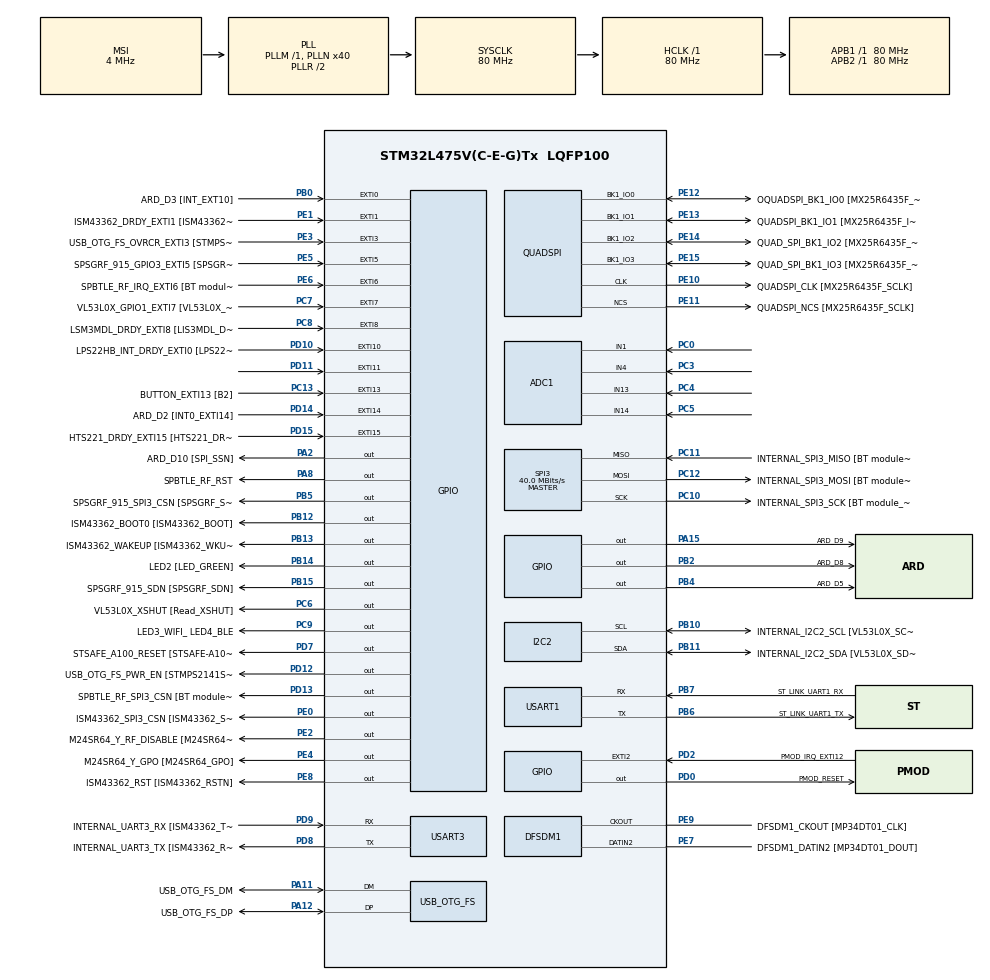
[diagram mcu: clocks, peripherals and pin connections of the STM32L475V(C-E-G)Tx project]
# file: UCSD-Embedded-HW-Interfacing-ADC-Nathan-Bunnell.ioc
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PD12.GPIO_Label=USB_OTG_FS_PWR_EN [STMPS2141STR_EN]
SPI3.Direction=SPI_DIRECTION_2LINES
SPI3.VirtualType=VM_MASTER
QUADSPI.ClockPrescaler=2
PB10.Mode=I2C
PC12.Signal=SPI3_MOSI
PB14.GPIO_Label=LED2 [LED_GREEN]
PC6.GPIO_Label=VL53L0X_XSHUT [Read_XSHUT]
PA6.GPIO_Label=ARD_D12 [SPI1_MISO]
PB6.GPIO_Label=ST_LINK_UART1_TX
PA15\ (JTDI).Signal=GPIO_Output
PC15-OSC32_OUT\ (PC15).Mode=LSE-External-Oscillator
PB13.Signal=GPIO_Output
PD6.GPIO_Label=PMOD_UART2_RX
PE6.GPIO_Label=SPBTLE_RF_IRQ_EXTI6 [BT module_SPI_IRQ]
RCC.SYSCLKSource=RCC_SYSCLKSOURCE_PLLCLK
PC14-OSC32_IN\ (PC14).Mode=LSE-External-Oscillator
SH.ADCx_IN16.0=ADC1_IN16
USART3.VirtualMode-Asynchronous=VM_ASYNC
PA14\ (JTCK-SWCLK).Signal=SYS_JTCK-SWCLK
PD4.Signal=USART2_RTS
RCC.APB2TimFreq_Value=80000000
PC4.GPIO_Mode=GPIO_MODE_ANALOG_ADC_CONTROL
PB6.Signal=USART1_TX
Dma.ADC1.0.Direction=DMA_PERIPH_TO_MEMORY
PC7.Signal=GPXTI7
PB6.Mode=Asynchronous
PC3.Signal=ADCx_IN4
PD0.Signal=GPIO_Output
PD8.Signal=USART3_TX
PE5.Signal=GPXTI5
PE1.Signal=GPXTI1
QUADSPI.FlashSize=23
Dma.ADC1.0.MemDataAlignment=DMA_MDATAALIGN_HALFWORD
PB2.Signal=GPIO_Output
PC1.GPIO_PuPd=GPIO_NOPULL
PD1.GPIO_Label=PMOD_SPI2_SCK
PB12.GPIO_Label=ISM43362_BOOT0 [ISM43362_BOOT]
PE9.Signal=S_CKOUTDFSDM1
PB1.GPIO_Label=ARD_D6 [ADC1_IN6]
Dma.ADC1.0.PeriphInc=DMA_PINC_DISABLE
PE4.GPIO_Label=M24SR64_Y_GPO [M24SR64_GPO]
PE2.Signal=GPIO_Output
PA8.Signal=GPIO_Output
PE13.Mode=Single Bank
PE10.Signal=QUADSPI_CLK
ADC1.SamplingTime-0\#ChannelRegularConversion=ADC_SAMPLETIME_2CYCLES_5
PD11.GPIO_ModeDefaultEXTI=GPIO_MODE_IT_RISING
PA0.Signal=UART4_TX
Mcu.Package=LQFP100
PB9.Signal=I2C1_SDA
PB1.Signal=ADCx_IN16
SPI3.Mode=SPI_MODE_MASTER
SH.ADCx_IN14.0=ADC1_IN14,IN14-Single-Ended
PD12.Signal=GPIO_Output
PA10.Signal=USB_OTG_FS_ID
PE12.GPIO_Label=OQUADSPI_BK1_IO0 [MX25R6435F_IO0]
PC11.Mode=Full_Duplex_Master
SH.ADCx_IN9.0=ADC1_IN9
PC2.GPIO_Mode=GPIO_MODE_ANALOG_ADC_CONTROL
RCC.APB1TimFreq_Value=80000000
PA13\ (JTMS-SWDIO).Signal=SYS_JTMS-SWDIO
PE10.GPIO_Label=QUADSPI_CLK [MX25R6435F_SCLK]
PA4.GPIO_Label=ARD_D7
PD15.Signal=GPXTI15
PE12.Mode=Single Bank
Dma.ADC1.0.Instance=DMA1_Channel1
ADC1.Rank-0\#ChannelRegularConversion=1
PD9.GPIO_Label=INTERNAL_UART3_RX [ISM43362_TX]
ADC1.OffsetNumber-0\#ChannelRegularConversion=ADC_OFFSET_NONE
PA9.GPIO_Label=USB_OTG_FS_VBUS [STMPS2141STR_OUT]
PC13.Signal=GPXTI13
PD3.Signal=USART2_CTS
PC6.Signal=GPIO_Output
PE10.Mode=Single Bank
PC2.Signal=ADCx_IN3
PB11.GPIO_Label=INTERNAL_I2C2_SDA [VL53L0X_SDA]
PD7.Signal=GPIO_Output
PD1.Signal=SPI2_SCK
PA11.GPIO_Label=USB_OTG_FS_DM
PC0.Signal=ADCx_IN1
PD10.Signal=GPXTI10
PB8.GPIO_Label=ARD_D15 [I2C1_SCL]
PA8.GPIO_Label=SPBTLE_RF_RST
PB11.Mode=I2C
PE8.GPIO_Label=ISM43362_RST [ISM43362_RSTN]
Dma.ADC1.0.Priority=DMA_PRIORITY_LOW
PA9.Signal=USB_OTG_FS_VBUS
PE9.GPIO_Label=DFSDM1_CKOUT [MP34DT01_CLK]
PD8.Mode=Asynchronous
PB10.Signal=I2C2_SCL
PB14.Signal=GPIO_Output
PA5.Signal=SPI1_SCK
PC12.Mode=Full_Duplex_Master
PE1.GPIO_Label=ISM43362_DRDY_EXTI1 [ISM43362_DATARDY]
PE14.Signal=QUADSPI_BK1_IO2
PE15.Signal=QUADSPI_BK1_IO3
PB15.GPIO_Label=SPSGRF_915_SDN [SPSGRF_SDN]
PE8.Signal=GPIO_Output
PA1.GPIO_Label=ARD_D0 [UART4_RX]
SH.ADCx_IN4.0=ADC1_IN4,IN4-Single-Ended
QUADSPI.FifoThreshold=4
PC7.GPIO_Label=VL53L0X_GPIO1_EXTI7 [VL53L0X_GPIO1]
PA13\ (JTMS-SWDIO).Mode=Serial_Wire
PA4.Signal=ADCx_IN9
PB5.Signal=GPIO_Output
ADC1.master=1
PE13.GPIO_Label=QUADSPI_BK1_IO1 [MX25R6435F_IO1]
PA5.GPIO_Label=ARD_D13 [SPI1_SCK]
PD11.Signal=GPXTI11
PE5.GPIO_Label=SPSGRF_915_GPIO3_EXTI5 [SPSGRF_GPIO_3]
PC12.GPIO_Label=INTERNAL_SPI3_MOSI [BT module_SPI_MOSI] [ISM43362_MOSI]
PA11.Signal=USB_OTG_FS_DM
PC5.GPIO_Mode=GPIO_MODE_ANALOG_ADC_CONTROL
ProjectManager.HeapSize=0x200
NVIC.PriorityGroup=NVIC_PRIORITYGROUP_4
PE3.Signal=GPXTI3
PB4\ (NJTRST).GPIO_Label=ARD_D5
NVIC.DMA1_Channel1_IRQn=true\:0\:0\:false\:false\:true\:true\:true
PD2.Signal=GPXTI2
PB0.Signal=GPXTI0
PC1.Signal=ADCx_IN2
PD2.GPIO_Label=PMOD_IRQ_EXTI12
PE15.Mode=Single Bank
Mcu.Family=STM32L4
PC3.GPIO_Mode=GPIO_MODE_ANALOG_ADC_CONTROL
RCC.CortexFreq_Value=80000000
PE11.GPIO_Label=QUADSPI_NCS [MX25R6435F_SCLK]
SH.ADCx_IN2.0=ADC1_IN2
PC10.Signal=SPI3_SCK
I2C2.Timing=0x10909CEC
PA0.GPIO_Label=ARD_D1 [UART4_TX]
PD0.GPIO_Label=PMOD_RESET
PA11.Mode=Device_Only
PB0.GPIO_Label=ARD_D3 [INT_EXT10]
PC13.GPIO_Label=BUTTON_EXTI13 [B2]
PB13.GPIO_Label=ISM43362_WAKEUP [ISM43362_WKUP]
PB11.Signal=I2C2_SDA
PB15.Signal=GPIO_Output
PD9.Mode=Asynchronous
ProjectManager.StackSize=0x400
PB3\ (JTDO-TRACESWO).Signal=SYS_JTDO-SWO
PD13.Signal=GPIO_Output
PD11.GPIO_PuPd=GPIO_NOPULL
PA12.Signal=USB_OTG_FS_DP
PE11.Mode=Single Bank
RCC.HCLKFreq_Value=80000000
SH.ADCx_IN3.0=ADC1_IN3
PB5.PinState=GPIO_PIN_SET
RCC.AHBFreq_Value=80000000
PC1.GPIO_Mode=GPIO_MODE_ANALOG_ADC_CONTROL
ADC1.Channel-0\#ChannelRegularConversion=ADC_CHANNEL_14
RCC.HSE_VALUE=8000000
PE13.Signal=QUADSPI_BK1_IO1
PC11.GPIO_Label=INTERNAL_SPI3_MISO [BT module_SPI_MISO] [ISM43362_MISO]
PA10.GPIO_Label=USB_OTG_FS_ID
PB7.Signal=USART1_RX
PE4.Signal=GPIO_Output
QUADSPI.SampleShifting=QSPI_SAMPLE_SHIFTING_HALFCYCLE
PD7.GPIO_Label=STSAFE_A100_RESET [STSAFE-A100_RESET]
PB7.GPIO_Label=ST_LINK_UART1_RX
PD13.GPIO_Label=SPBTLE_RF_SPI3_CSN [BT module_SPI_CS]
PA6.Signal=SPI1_MISO
PD5.GPIO_Label=PMOD_UART2_TX
PA2.GPIO_Label=ARD_D10 [SPI_SSN]
USB_OTG_FS.VirtualMode=Device_Only
PE0.GPIO_Label=ISM43362_SPI3_CSN [ISM43362_SSN]
SH.ADCx_IN1.0=ADC1_IN1,IN1-Single-Ended
PB5.GPIO_Label=SPSGRF_915_SPI3_CSN [SPSGRF_SPI_CS]
PC5.Signal=ADCx_IN14
PD3.GPIO_Label=PMOD_UART2_CTS
PE7.Signal=S_DATAIN2DFSDM1
PC0.GPIO_PuPd=GPIO_NOPULL
PD6.Signal=USART2_RX
Dma.Request0=ADC1
PE2.GPIO_Label=M24SR64_Y_RF_DISABLE [M24SR64_RFDIS]
RCC.PLLSAI1N=24
PA3.Signal=S_TIM2_CH4
RCC.MSI_VALUE=4000000
PA14\ (JTCK-SWCLK).Mode=Serial_Wire
SH.ADCx_IN13.0=ADC1_IN13,IN13-Single-Ended
PD15.GPIO_Label=HTS221_DRDY_EXTI15 [HTS221_DRDY]
PB9.GPIO_Label=ARD_D14 [I2C1_SDA]
PC10.GPIO_Label=INTERNAL_SPI3_SCK [BT module_SPI_SCLK] [ISM43362_SCK]
PC9.GPIO_Label=LED3_WIFI_ LED4_BLE
PC4.GPIO_PuPd=GPIO_NOPULL
PC11.Signal=SPI3_MISO
PC8.Signal=GPXTI8
PC4.Signal=ADCx_IN13
PC10.Mode=Full_Duplex_Master
SH.S_DATAIN2DFSDM1.0=DFSDM1_DATIN2,PDM_SPI_Input_from_ch12_and_Internal_Clock
PE14.GPIO_Label=QUAD_SPI_BK1_IO2 [MX25R6435F_IO2]
PC15-OSC32_OUT\ (PC15).Signal=RCC_OSC32_OUT
PD9.Signal=USART3_RX
PD5.Signal=USART2_TX
PA14\ (JTCK-SWCLK).GPIO_Label=SYS_JTCK_SWCLK
PB3\ (JTDO-TRACESWO).GPIO_Label=SYS_JTD0_SWO
PC5.GPIO_PuPd=GPIO_NOPULL
PA12.GPIO_Label=USB_OTG_FS_DP
PD8.GPIO_Label=INTERNAL_UART3_TX [ISM43362_RX]
PC8.GPIO_Label=LSM3MDL_DRDY_EXTI8 [LIS3MDL_DRDY]
USART1.VirtualMode-Asynchronous=VM_ASYNC
Dma.ADC1.0.PeriphDataAlignment=DMA_PDATAALIGN_HALFWORD
PE0.PinState=GPIO_PIN_SET
PE15.GPIO_Label=QUAD_SPI_BK1_IO3 [MX25R6435F_IO3]
ProjectManager.TargetToolchain=STM32CubeIDE
PB10.GPIO_Label=INTERNAL_I2C2_SCL [VL53L0X_SCL]
Dma.ADC1.0.Mode=DMA_NORMAL
RCC.USBFreq_Value=48000000
PD10.GPIO_Label=LPS22HB_INT_DRDY_EXTI0 [LPS22HB_INT_DRDY] 
PE11.Signal=QUADSPI_NCS
PA1.Signal=UART4_RX
board=B-L475E-IOT01A1
RCC.VCOOutputFreq_Value=160000000
RCC.APB2Freq_Value=80000000
SPI3.CalculateBaudRate=40.0 MBits/s
PC0.GPIO_Mode=GPIO_MODE_ANALOG_ADC_CONTROL
PA13\ (JTMS-SWDIO).GPIO_Label=SYS_JTMS_SWDIO
PD4.GPIO_Label=PMOD_UART2_RTS
PE14.Mode=Single Bank
SH.S_CKOUTDFSDM1.0=DFSDM1_CKOUT,CKOUT
SH.S_CKOUTDFSDM1.1=DFSDM1_CKOUT,PDM_SPI_Input_from_ch12_and_Internal_Clock
RCC.ADCFreq_Value=48000000
PD14.GPIO_Label=ARD_D2 [INT0_EXTI14]
PC2.GPIO_PuPd=GPIO_NOPULL
PE6.Signal=GPXTI6
PA15\ (JTDI).GPIO_Label=ARD_D9
Mcu.Name=STM32L475V(C-E-G)Tx
PE0.Signal=GPIO_Output
PE7.GPIO_Label=DFSDM1_DATIN2 [MP34DT01_DOUT]
PE12.Signal=QUADSPI_BK1_IO0
PA2.Signal=GPIO_Output
PD14.Signal=GPXTI14
RCC.SYSCLKFreq_VALUE=80000000
PA7.GPIO_Label=ARD_D11 [SPI1_MOSI]
PA12.Mode=Device_Only
PC13.GPIO_ModeDefaultEXTI=GPIO_MODE_IT_FALLING
PC14-OSC32_IN\ (PC14).Signal=RCC_OSC32_IN
PB7.Mode=Asynchronous
Dma.ADC1.0.MemInc=DMA_MINC_ENABLE
PB2.GPIO_Label=ARD_D8
SH.S_TIM2_CH4.0=TIM2_CH4
RCC.HSI_VALUE=16000000
ADC1.NbrOfConversionFlag=1
RCC.PLLN=40
PB8.Signal=I2C1_SCL
PE3.GPIO_Label=USB_OTG_FS_OVRCR_EXTI3 [STMPS2141STR_FAULT]
PC9.Signal=GPIO_Output
PD13.PinState=GPIO_PIN_SET
RCC.APB1Freq_Value=80000000
PB12.Signal=GPIO_Output
PC3.GPIO_PuPd=GPIO_NOPULL
PA3.GPIO_Label=ARD_D4
PA7.Signal=SPI1_MOSI
PB4\ (NJTRST).Signal=GPIO_Output

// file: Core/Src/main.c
/* USER CODE BEGIN Header */
/**
  ******************************************************************************
  * @file           : main.c
  * @brief          : Main program body
  ******************************************************************************
  * @attention
  *
  * <h2><center>&copy; Copyright (c) 2021 STMicroelectronics.
  * All rights reserved.</center></h2>
  *
  * This software component is licensed by ST under BSD 3-Clause license,
  * the "License"; You may not use this file except in compliance with the
  * License. You may obtain a copy of the License at:
  *                        opensource.org/licenses/BSD-3-Clause
  *
  ******************************************************************************
  */
/* USER CODE END Header */
#include "main.h"

/* USER CODE BEGIN Includes */

#include <stdio.h>
#include <string.h>

/* USER CODE END Includes */

ADC_HandleTypeDef hadc1;
DMA_HandleTypeDef hdma_adc1;

DFSDM_Channel_HandleTypeDef hdfsdm1_channel1;

I2C_HandleTypeDef hi2c2;

QSPI_HandleTypeDef hqspi;

SPI_HandleTypeDef hspi3;

UART_HandleTypeDef huart1;
UART_HandleTypeDef huart3;

PCD_HandleTypeDef hpcd_USB_OTG_FS;

void SystemClock_Config(void);
static void MX_GPIO_Init(void);
static void MX_DMA_Init(void);
static void MX_DFSDM1_Init(void);
static void MX_I2C2_Init(void);
static void MX_QUADSPI_Init(void);
static void MX_SPI3_Init(void);
static void MX_USART1_UART_Init(void);
static void MX_USART3_UART_Init(void);
static void MX_USB_OTG_FS_PCD_Init(void);
static void MX_ADC1_Init(void);

/* USER CODE BEGIN 0 */

static uint16_t adcValue;

void HAL_ADC_ConvCpltCallback(ADC_HandleTypeDef *hadc)
{
	// Define formatting strings to provide a clean serial output
	char printString[255] = "\nARD-A2: raw: ";
	char voltsString[] = ", volts: ";

	// Store value into a buffer
	char bufferRaw[20];
	snprintf(bufferRaw, sizeof(bufferRaw), "%u", adcValue);

	// Convert raw counts into voltage
	char bufferVoltage[20];
	float valueVoltage= (adcValue * (3.3/4096));
	snprintf(bufferVoltage, sizeof(bufferVoltage), "%5.3f", valueVoltage);

	// Concat the formatting strings and data to an output
	// to send out over the UART1 serial port/ USB-micro
	// port to PC
	strcat(printString, bufferRaw);
	strcat(printString, voltsString);
	strcat(printString, bufferVoltage);

	HAL_UART_Transmit(&huart1, (uint8_t *) printString, strlen(printString), 1000);
}

/* USER CODE END 0 */

int main(void)
{

  /* MCU Configuration--------------------------------------------------------*/

  /* Reset of all peripherals, Initializes the Flash interface and the Systick. */
  HAL_Init();

  /* Configure the system clock */
  SystemClock_Config();

  /* Initialize all configured peripherals */
  MX_GPIO_Init();
  MX_DMA_Init();
  MX_DFSDM1_Init();
  MX_I2C2_Init();
  MX_QUADSPI_Init();
  MX_SPI3_Init();
  MX_USART1_UART_Init();
  MX_USART3_UART_Init();
  MX_USB_OTG_FS_PCD_Init();
  MX_ADC1_Init();

  /* Infinite loop */
  /* USER CODE BEGIN WHILE */

  /************************************
  * User Story 3 implementation begin:
  *
  * 	Connect ARD-2 to analog voltage
  * 	source and read using ADC DMA
  * 	mode. Pipe output to console.
  *
  ***********************************/

  // Startup string to show that we're working
  char startupString[255] = "Starting ADC DMA mode...\n";
  HAL_UART_Transmit(&huart1, (uint8_t *) startupString, strlen(startupString), 1000);

  // Calibrate ADC1
  HAL_ADCEx_Calibration_Start(&hadc1, ADC_SINGLE_ENDED);

  while (1)
  {
    /* USER CODE END WHILE */

    /* USER CODE BEGIN 3 */

	  // Blink & delay to give indication of *something* happening
	  HAL_GPIO_TogglePin(LED3_WIFI__LED4_BLE_GPIO_Port, LED3_WIFI__LED4_BLE_Pin);
	  HAL_Delay(1000);

	  // Enable ADC1 in IT mode
	  HAL_ADC_Start_DMA(&hadc1, &adcValue, 1);

	  /************************************
	  * User Story 3 implementation end
	  *
	  ***********************************/

  }
  /* USER CODE END 3 */
}

void SystemClock_Config(void)
{
  RCC_OscInitTypeDef RCC_OscInitStruct = {0};
  RCC_ClkInitTypeDef RCC_ClkInitStruct = {0};
  RCC_PeriphCLKInitTypeDef PeriphClkInit = {0};

  /** Configure LSE Drive Capability
  */
  HAL_PWR_EnableBkUpAccess();
  __HAL_RCC_LSEDRIVE_CONFIG(RCC_LSEDRIVE_LOW);
  /** Initializes the RCC Oscillators according to the specified parameters
  * in the RCC_OscInitTypeDef structure.
  */
  RCC_OscInitStruct.OscillatorType = RCC_OSCILLATORTYPE_LSE|RCC_OSCILLATORTYPE_MSI;
  RCC_OscInitStruct.LSEState = RCC_LSE_ON;
  RCC_OscInitStruct.MSIState = RCC_MSI_ON;
  RCC_OscInitStruct.MSICalibrationValue = 0;
  RCC_OscInitStruct.MSIClockRange = RCC_MSIRANGE_6;
  RCC_OscInitStruct.PLL.PLLState = RCC_PLL_ON;
  RCC_OscInitStruct.PLL.PLLSource = RCC_PLLSOURCE_MSI;
  RCC_OscInitStruct.PLL.PLLM = 1;
  RCC_OscInitStruct.PLL.PLLN = 40;
  RCC_OscInitStruct.PLL.PLLP = RCC_PLLP_DIV7;
  RCC_OscInitStruct.PLL.PLLQ = RCC_PLLQ_DIV2;
  RCC_OscInitStruct.PLL.PLLR = RCC_PLLR_DIV2;
  if (HAL_RCC_OscConfig(&RCC_OscInitStruct) != HAL_OK)
  {
    Error_Handler();
  }
  /** Initializes the CPU, AHB and APB buses clocks
  */
  RCC_ClkInitStruct.ClockType = RCC_CLOCKTYPE_HCLK|RCC_CLOCKTYPE_SYSCLK
                              |RCC_CLOCKTYPE_PCLK1|RCC_CLOCKTYPE_PCLK2;
  RCC_ClkInitStruct.SYSCLKSource = RCC_SYSCLKSOURCE_PLLCLK;
  RCC_ClkInitStruct.AHBCLKDivider = RCC_SYSCLK_DIV1;
  RCC_ClkInitStruct.APB1CLKDivider = RCC_HCLK_DIV1;
  RCC_ClkInitStruct.APB2CLKDivider = RCC_HCLK_DIV1;

  if (HAL_RCC_ClockConfig(&RCC_ClkInitStruct, FLASH_LATENCY_4) != HAL_OK)
  {
    Error_Handler();
  }
  PeriphClkInit.PeriphClockSelection = RCC_PERIPHCLK_USART1|RCC_PERIPHCLK_USART3
                              |RCC_PERIPHCLK_I2C2|RCC_PERIPHCLK_DFSDM1
                              |RCC_PERIPHCLK_USB|RCC_PERIPHCLK_ADC;
  PeriphClkInit.Usart1ClockSelection = RCC_USART1CLKSOURCE_PCLK2;
  PeriphClkInit.Usart3ClockSelection = RCC_USART3CLKSOURCE_PCLK1;
  PeriphClkInit.I2c2ClockSelection = RCC_I2C2CLKSOURCE_PCLK1;
  PeriphClkInit.AdcClockSelection = RCC_ADCCLKSOURCE_PLLSAI1;
  PeriphClkInit.Dfsdm1ClockSelection = RCC_DFSDM1CLKSOURCE_PCLK;
  PeriphClkInit.UsbClockSelection = RCC_USBCLKSOURCE_PLLSAI1;
  PeriphClkInit.PLLSAI1.PLLSAI1Source = RCC_PLLSOURCE_MSI;
  PeriphClkInit.PLLSAI1.PLLSAI1M = 1;
  PeriphClkInit.PLLSAI1.PLLSAI1N = 24;
  PeriphClkInit.PLLSAI1.PLLSAI1P = RCC_PLLP_DIV7;
  PeriphClkInit.PLLSAI1.PLLSAI1Q = RCC_PLLQ_DIV2;
  PeriphClkInit.PLLSAI1.PLLSAI1R = RCC_PLLR_DIV2;
  PeriphClkInit.PLLSAI1.PLLSAI1ClockOut = RCC_PLLSAI1_48M2CLK|RCC_PLLSAI1_ADC1CLK;
  if (HAL_RCCEx_PeriphCLKConfig(&PeriphClkInit) != HAL_OK)
  {
    Error_Handler();
  }
  /** Configure the main internal regulator output voltage
  */
  if (HAL_PWREx_ControlVoltageScaling(PWR_REGULATOR_VOLTAGE_SCALE1) != HAL_OK)
  {
    Error_Handler();
  }
  /** Enable MSI Auto calibration
  */
  HAL_RCCEx_EnableMSIPLLMode();
}

static void MX_ADC1_Init(void)
{

  ADC_MultiModeTypeDef multimode = {0};
  ADC_ChannelConfTypeDef sConfig = {0};

  /** Common config
  */
  hadc1.Instance = ADC1;
  hadc1.Init.ClockPrescaler = ADC_CLOCK_ASYNC_DIV1;
  hadc1.Init.Resolution = ADC_RESOLUTION_12B;
  hadc1.Init.DataAlign = ADC_DATAALIGN_RIGHT;
  hadc1.Init.ScanConvMode = ADC_SCAN_DISABLE;
  hadc1.Init.EOCSelection = ADC_EOC_SINGLE_CONV;
  hadc1.Init.LowPowerAutoWait = DISABLE;
  hadc1.Init.ContinuousConvMode = DISABLE;
  hadc1.Init.NbrOfConversion = 1;
  hadc1.Init.DiscontinuousConvMode = DISABLE;
  hadc1.Init.ExternalTrigConv = ADC_SOFTWARE_START;
  hadc1.Init.ExternalTrigConvEdge = ADC_EXTERNALTRIGCONVEDGE_NONE;
  hadc1.Init.DMAContinuousRequests = DISABLE;
  hadc1.Init.Overrun = ADC_OVR_DATA_PRESERVED;
  hadc1.Init.OversamplingMode = DISABLE;
  if (HAL_ADC_Init(&hadc1) != HAL_OK)
  {
    Error_Handler();
  }
  /** Configure the ADC multi-mode
  */
  multimode.Mode = ADC_MODE_INDEPENDENT;
  if (HAL_ADCEx_MultiModeConfigChannel(&hadc1, &multimode) != HAL_OK)
  {
    Error_Handler();
  }
  /** Configure Regular Channel
  */
  sConfig.Channel = ADC_CHANNEL_4;
  sConfig.Rank = ADC_REGULAR_RANK_1;
  sConfig.SamplingTime = ADC_SAMPLETIME_2CYCLES_5;
  sConfig.SingleDiff = ADC_SINGLE_ENDED;
  sConfig.OffsetNumber = ADC_OFFSET_NONE;
  sConfig.Offset = 0;
  if (HAL_ADC_ConfigChannel(&hadc1, &sConfig) != HAL_OK)
  {
    Error_Handler();
  }

}

static void MX_DFSDM1_Init(void)
{

  hdfsdm1_channel1.Instance = DFSDM1_Channel1;
  hdfsdm1_channel1.Init.OutputClock.Activation = ENABLE;
  hdfsdm1_channel1.Init.OutputClock.Selection = DFSDM_CHANNEL_OUTPUT_CLOCK_SYSTEM;
  hdfsdm1_channel1.Init.OutputClock.Divider = 2;
  hdfsdm1_channel1.Init.Input.Multiplexer = DFSDM_CHANNEL_EXTERNAL_INPUTS;
  hdfsdm1_channel1.Init.Input.DataPacking = DFSDM_CHANNEL_STANDARD_MODE;
  hdfsdm1_channel1.Init.Input.Pins = DFSDM_CHANNEL_FOLLOWING_CHANNEL_PINS;
  hdfsdm1_channel1.Init.SerialInterface.Type = DFSDM_CHANNEL_SPI_RISING;
  hdfsdm1_channel1.Init.SerialInterface.SpiClock = DFSDM_CHANNEL_SPI_CLOCK_INTERNAL;
  hdfsdm1_channel1.Init.Awd.FilterOrder = DFSDM_CHANNEL_FASTSINC_ORDER;
  hdfsdm1_channel1.Init.Awd.Oversampling = 1;
  hdfsdm1_channel1.Init.Offset = 0;
  hdfsdm1_channel1.Init.RightBitShift = 0x00;
  if (HAL_DFSDM_ChannelInit(&hdfsdm1_channel1) != HAL_OK)
  {
    Error_Handler();
  }

}

static void MX_I2C2_Init(void)
{

  hi2c2.Instance = I2C2;
  hi2c2.Init.Timing = 0x10909CEC;
  hi2c2.Init.OwnAddress1 = 0;
  hi2c2.Init.AddressingMode = I2C_ADDRESSINGMODE_7BIT;
  hi2c2.Init.DualAddressMode = I2C_DUALADDRESS_DISABLE;
  hi2c2.Init.OwnAddress2 = 0;
  hi2c2.Init.OwnAddress2Masks = I2C_OA2_NOMASK;
  hi2c2.Init.GeneralCallMode = I2C_GENERALCALL_DISABLE;
  hi2c2.Init.NoStretchMode = I2C_NOSTRETCH_DISABLE;
  if (HAL_I2C_Init(&hi2c2) != HAL_OK)
  {
    Error_Handler();
  }
  /** Configure Analogue filter
  */
  if (HAL_I2CEx_ConfigAnalogFilter(&hi2c2, I2C_ANALOGFILTER_ENABLE) != HAL_OK)
  {
    Error_Handler();
  }
  /** Configure Digital filter
  */
  if (HAL_I2CEx_ConfigDigitalFilter(&hi2c2, 0) != HAL_OK)
  {
    Error_Handler();
  }

}

static void MX_QUADSPI_Init(void)
{

  /* QUADSPI parameter configuration*/
  hqspi.Instance = QUADSPI;
  hqspi.Init.ClockPrescaler = 2;
  hqspi.Init.FifoThreshold = 4;
  hqspi.Init.SampleShifting = QSPI_SAMPLE_SHIFTING_HALFCYCLE;
  hqspi.Init.FlashSize = 23;
  hqspi.Init.ChipSelectHighTime = QSPI_CS_HIGH_TIME_1_CYCLE;
  hqspi.Init.ClockMode = QSPI_CLOCK_MODE_0;
  if (HAL_QSPI_Init(&hqspi) != HAL_OK)
  {
    Error_Handler();
  }

}

static void MX_SPI3_Init(void)
{

  /* SPI3 parameter configuration*/
  hspi3.Instance = SPI3;
  hspi3.Init.Mode = SPI_MODE_MASTER;
  hspi3.Init.Direction = SPI_DIRECTION_2LINES;
  hspi3.Init.DataSize = SPI_DATASIZE_4BIT;
  hspi3.Init.CLKPolarity = SPI_POLARITY_LOW;
  hspi3.Init.CLKPhase = SPI_PHASE_1EDGE;
  hspi3.Init.NSS = SPI_NSS_SOFT;
  hspi3.Init.BaudRatePrescaler = SPI_BAUDRATEPRESCALER_2;
  hspi3.Init.FirstBit = SPI_FIRSTBIT_MSB;
  hspi3.Init.TIMode = SPI_TIMODE_DISABLE;
  hspi3.Init.CRCCalculation = SPI_CRCCALCULATION_DISABLE;
  hspi3.Init.CRCPolynomial = 7;
  hspi3.Init.CRCLength = SPI_CRC_LENGTH_DATASIZE;
  hspi3.Init.NSSPMode = SPI_NSS_PULSE_ENABLE;
  if (HAL_SPI_Init(&hspi3) != HAL_OK)
  {
    Error_Handler();
  }

}

static void MX_USART1_UART_Init(void)
{

  huart1.Instance = USART1;
  huart1.Init.BaudRate = 115200;
  huart1.Init.WordLength = UART_WORDLENGTH_8B;
  huart1.Init.StopBits = UART_STOPBITS_1;
  huart1.Init.Parity = UART_PARITY_NONE;
  huart1.Init.Mode = UART_MODE_TX_RX;
  huart1.Init.HwFlowCtl = UART_HWCONTROL_NONE;
  huart1.Init.OverSampling = UART_OVERSAMPLING_16;
  huart1.Init.OneBitSampling = UART_ONE_BIT_SAMPLE_DISABLE;
  huart1.AdvancedInit.AdvFeatureInit = UART_ADVFEATURE_NO_INIT;
  if (HAL_UART_Init(&huart1) != HAL_OK)
  {
    Error_Handler();
  }

}

static void MX_USART3_UART_Init(void)
{

  huart3.Instance = USART3;
  huart3.Init.BaudRate = 115200;
  huart3.Init.WordLength = UART_WORDLENGTH_8B;
  huart3.Init.StopBits = UART_STOPBITS_1;
  huart3.Init.Parity = UART_PARITY_NONE;
  huart3.Init.Mode = UART_MODE_TX_RX;
  huart3.Init.HwFlowCtl = UART_HWCONTROL_NONE;
  huart3.Init.OverSampling = UART_OVERSAMPLING_16;
  huart3.Init.OneBitSampling = UART_ONE_BIT_SAMPLE_DISABLE;
  huart3.AdvancedInit.AdvFeatureInit = UART_ADVFEATURE_NO_INIT;
  if (HAL_UART_Init(&huart3) != HAL_OK)
  {
    Error_Handler();
  }

}

static void MX_USB_OTG_FS_PCD_Init(void)
{

  hpcd_USB_OTG_FS.Instance = USB_OTG_FS;
  hpcd_USB_OTG_FS.Init.dev_endpoints = 6;
  hpcd_USB_OTG_FS.Init.speed = PCD_SPEED_FULL;
  hpcd_USB_OTG_FS.Init.phy_itface = PCD_PHY_EMBEDDED;
  hpcd_USB_OTG_FS.Init.Sof_enable = DISABLE;
  hpcd_USB_OTG_FS.Init.low_power_enable = DISABLE;
  hpcd_USB_OTG_FS.Init.lpm_enable = DISABLE;
  hpcd_USB_OTG_FS.Init.battery_charging_enable = DISABLE;
  hpcd_USB_OTG_FS.Init.use_dedicated_ep1 = DISABLE;
  hpcd_USB_OTG_FS.Init.vbus_sensing_enable = DISABLE;
  if (HAL_PCD_Init(&hpcd_USB_OTG_FS) != HAL_OK)
  {
    Error_Handler();
  }

}

static void MX_DMA_Init(void)
{

  /* DMA controller clock enable */
  __HAL_RCC_DMA1_CLK_ENABLE();

  /* DMA interrupt init */
  /* DMA1_Channel1_IRQn interrupt configuration */
  HAL_NVIC_SetPriority(DMA1_Channel1_IRQn, 0, 0);
  HAL_NVIC_EnableIRQ(DMA1_Channel1_IRQn);

}

static void MX_GPIO_Init(void)
{
  GPIO_InitTypeDef GPIO_InitStruct = {0};

  /* GPIO Ports Clock Enable */
  __HAL_RCC_GPIOE_CLK_ENABLE();
  __HAL_RCC_GPIOC_CLK_ENABLE();
  __HAL_RCC_GPIOA_CLK_ENABLE();
  __HAL_RCC_GPIOB_CLK_ENABLE();
  __HAL_RCC_GPIOD_CLK_ENABLE();

  /*Configure GPIO pin Output Level */
  HAL_GPIO_WritePin(GPIOE, M24SR64_Y_RF_DISABLE_Pin|M24SR64_Y_GPO_Pin|ISM43362_RST_Pin, GPIO_PIN_RESET);

  /*Configure GPIO pin Output Level */
  HAL_GPIO_WritePin(GPIOA, ARD_D10_Pin|SPBTLE_RF_RST_Pin|ARD_D9_Pin, GPIO_PIN_RESET);

  /*Configure GPIO pin Output Level */
  HAL_GPIO_WritePin(GPIOB, ARD_D8_Pin|ISM43362_BOOT0_Pin|ISM43362_WAKEUP_Pin|LED2_Pin
                          |SPSGRF_915_SDN_Pin|ARD_D5_Pin, GPIO_PIN_RESET);

  /*Configure GPIO pin Output Level */
  HAL_GPIO_WritePin(GPIOD, USB_OTG_FS_PWR_EN_Pin|PMOD_RESET_Pin|STSAFE_A100_RESET_Pin, GPIO_PIN_RESET);

  /*Configure GPIO pin Output Level */
  HAL_GPIO_WritePin(SPBTLE_RF_SPI3_CSN_GPIO_Port, SPBTLE_RF_SPI3_CSN_Pin, GPIO_PIN_SET);

  /*Configure GPIO pin Output Level */
  HAL_GPIO_WritePin(GPIOC, VL53L0X_XSHUT_Pin|LED3_WIFI__LED4_BLE_Pin, GPIO_PIN_RESET);

  /*Configure GPIO pin Output Level */
  HAL_GPIO_WritePin(SPSGRF_915_SPI3_CSN_GPIO_Port, SPSGRF_915_SPI3_CSN_Pin, GPIO_PIN_SET);

  /*Configure GPIO pin Output Level */
  HAL_GPIO_WritePin(ISM43362_SPI3_CSN_GPIO_Port, ISM43362_SPI3_CSN_Pin, GPIO_PIN_SET);

  /*Configure GPIO pins : M24SR64_Y_RF_DISABLE_Pin M24SR64_Y_GPO_Pin ISM43362_RST_Pin ISM43362_SPI3_CSN_Pin */
  GPIO_InitStruct.Pin = M24SR64_Y_RF_DISABLE_Pin|M24SR64_Y_GPO_Pin|ISM43362_RST_Pin|ISM43362_SPI3_CSN_Pin;
  GPIO_InitStruct.Mode = GPIO_MODE_OUTPUT_PP;
  GPIO_InitStruct.Pull = GPIO_NOPULL;
  GPIO_InitStruct.Speed = GPIO_SPEED_FREQ_LOW;
  HAL_GPIO_Init(GPIOE, &GPIO_InitStruct);

  /*Configure GPIO pins : USB_OTG_FS_OVRCR_EXTI3_Pin SPSGRF_915_GPIO3_EXTI5_Pin SPBTLE_RF_IRQ_EXTI6_Pin ISM43362_DRDY_EXTI1_Pin */
  GPIO_InitStruct.Pin = USB_OTG_FS_OVRCR_EXTI3_Pin|SPSGRF_915_GPIO3_EXTI5_Pin|SPBTLE_RF_IRQ_EXTI6_Pin|ISM43362_DRDY_EXTI1_Pin;
  GPIO_InitStruct.Mode = GPIO_MODE_IT_RISING;
  GPIO_InitStruct.Pull = GPIO_NOPULL;
  HAL_GPIO_Init(GPIOE, &GPIO_InitStruct);

  /*Configure GPIO pin : BUTTON_EXTI13_Pin */
  GPIO_InitStruct.Pin = BUTTON_EXTI13_Pin;
  GPIO_InitStruct.Mode = GPIO_MODE_IT_FALLING;
  GPIO_InitStruct.Pull = GPIO_NOPULL;
  HAL_GPIO_Init(BUTTON_EXTI13_GPIO_Port, &GPIO_InitStruct);

  /*Configure GPIO pins : ARD_D1_Pin ARD_D0_Pin */
  GPIO_InitStruct.Pin = ARD_D1_Pin|ARD_D0_Pin;
  GPIO_InitStruct.Mode = GPIO_MODE_AF_PP;
  GPIO_InitStruct.Pull = GPIO_NOPULL;
  GPIO_InitStruct.Speed = GPIO_SPEED_FREQ_VERY_HIGH;
  GPIO_InitStruct.Alternate = GPIO_AF8_UART4;
  HAL_GPIO_Init(GPIOA, &GPIO_InitStruct);

  /*Configure GPIO pins : ARD_D10_Pin SPBTLE_RF_RST_Pin ARD_D9_Pin */
  GPIO_InitStruct.Pin = ARD_D10_Pin|SPBTLE_RF_RST_Pin|ARD_D9_Pin;
  GPIO_InitStruct.Mode = GPIO_MODE_OUTPUT_PP;
  GPIO_InitStruct.Pull = GPIO_NOPULL;
  GPIO_InitStruct.Speed = GPIO_SPEED_FREQ_LOW;
  HAL_GPIO_Init(GPIOA, &GPIO_InitStruct);

  /*Configure GPIO pin : ARD_D4_Pin */
  GPIO_InitStruct.Pin = ARD_D4_Pin;
  GPIO_InitStruct.Mode = GPIO_MODE_AF_PP;
  GPIO_InitStruct.Pull = GPIO_NOPULL;
  GPIO_InitStruct.Speed = GPIO_SPEED_FREQ_LOW;
  GPIO_InitStruct.Alternate = GPIO_AF1_TIM2;
  HAL_GPIO_Init(ARD_D4_GPIO_Port, &GPIO_InitStruct);

  /*Configure GPIO pins : ARD_D13_Pin ARD_D12_Pin ARD_D11_Pin */
  GPIO_InitStruct.Pin = ARD_D13_Pin|ARD_D12_Pin|ARD_D11_Pin;
  GPIO_InitStruct.Mode = GPIO_MODE_AF_PP;
  GPIO_InitStruct.Pull = GPIO_NOPULL;
  GPIO_InitStruct.Speed = GPIO_SPEED_FREQ_VERY_HIGH;
  GPIO_InitStruct.Alternate = GPIO_AF5_SPI1;
  HAL_GPIO_Init(GPIOA, &GPIO_InitStruct);

  /*Configure GPIO pin : ARD_D3_Pin */
  GPIO_InitStruct.Pin = ARD_D3_Pin;
  GPIO_InitStruct.Mode = GPIO_MODE_IT_RISING;
  GPIO_InitStruct.Pull = GPIO_NOPULL;
  HAL_GPIO_Init(ARD_D3_GPIO_Port, &GPIO_InitStruct);

  /*Configure GPIO pins : ARD_D8_Pin ISM43362_BOOT0_Pin ISM43362_WAKEUP_Pin LED2_Pin
                           SPSGRF_915_SDN_Pin ARD_D5_Pin SPSGRF_915_SPI3_CSN_Pin */
  GPIO_InitStruct.Pin = ARD_D8_Pin|ISM43362_BOOT0_Pin|ISM43362_WAKEUP_Pin|LED2_Pin
                          |SPSGRF_915_SDN_Pin|ARD_D5_Pin|SPSGRF_915_SPI3_CSN_Pin;
  GPIO_InitStruct.Mode = GPIO_MODE_OUTPUT_PP;
  GPIO_InitStruct.Pull = GPIO_NOPULL;
  GPIO_InitStruct.Speed = GPIO_SPEED_FREQ_LOW;
  HAL_GPIO_Init(GPIOB, &GPIO_InitStruct);

  /*Configure GPIO pins : LPS22HB_INT_DRDY_EXTI0_Pin PD11 ARD_D2_Pin HTS221_DRDY_EXTI15_Pin
                           PMOD_IRQ_EXTI12_Pin */
  GPIO_InitStruct.Pin = LPS22HB_INT_DRDY_EXTI0_Pin|GPIO_PIN_11|ARD_D2_Pin|HTS221_DRDY_EXTI15_Pin
                          |PMOD_IRQ_EXTI12_Pin;
  GPIO_InitStruct.Mode = GPIO_MODE_IT_RISING;
  GPIO_InitStruct.Pull = GPIO_NOPULL;
  HAL_GPIO_Init(GPIOD, &GPIO_InitStruct);

  /*Configure GPIO pins : USB_OTG_FS_PWR_EN_Pin SPBTLE_RF_SPI3_CSN_Pin PMOD_RESET_Pin STSAFE_A100_RESET_Pin */
  GPIO_InitStruct.Pin = USB_OTG_FS_PWR_EN_Pin|SPBTLE_RF_SPI3_CSN_Pin|PMOD_RESET_Pin|STSAFE_A100_RESET_Pin;
  GPIO_InitStruct.Mode = GPIO_MODE_OUTPUT_PP;
  GPIO_InitStruct.Pull = GPIO_NOPULL;
  GPIO_InitStruct.Speed = GPIO_SPEED_FREQ_LOW;
  HAL_GPIO_Init(GPIOD, &GPIO_InitStruct);

  /*Configure GPIO pins : VL53L0X_XSHUT_Pin LED3_WIFI__LED4_BLE_Pin */
  GPIO_InitStruct.Pin = VL53L0X_XSHUT_Pin|LED3_WIFI__LED4_BLE_Pin;
  GPIO_InitStruct.Mode = GPIO_MODE_OUTPUT_PP;
  GPIO_InitStruct.Pull = GPIO_NOPULL;
  GPIO_InitStruct.Speed = GPIO_SPEED_FREQ_LOW;
  HAL_GPIO_Init(GPIOC, &GPIO_InitStruct);

  /*Configure GPIO pins : VL53L0X_GPIO1_EXTI7_Pin LSM3MDL_DRDY_EXTI8_Pin */
  GPIO_InitStruct.Pin = VL53L0X_GPIO1_EXTI7_Pin|LSM3MDL_DRDY_EXTI8_Pin;
  GPIO_InitStruct.Mode = GPIO_MODE_IT_RISING;
  GPIO_InitStruct.Pull = GPIO_NOPULL;
  HAL_GPIO_Init(GPIOC, &GPIO_InitStruct);

  /*Configure GPIO pin : PMOD_SPI2_SCK_Pin */
  GPIO_InitStruct.Pin = PMOD_SPI2_SCK_Pin;
  GPIO_InitStruct.Mode = GPIO_MODE_AF_PP;
  GPIO_InitStruct.Pull = GPIO_NOPULL;
  GPIO_InitStruct.Speed = GPIO_SPEED_FREQ_VERY_HIGH;
  GPIO_InitStruct.Alternate = GPIO_AF5_SPI2;
  HAL_GPIO_Init(PMOD_SPI2_SCK_GPIO_Port, &GPIO_InitStruct);

  /*Configure GPIO pins : PMOD_UART2_CTS_Pin PMOD_UART2_RTS_Pin PMOD_UART2_TX_Pin PMOD_UART2_RX_Pin */
  GPIO_InitStruct.Pin = PMOD_UART2_CTS_Pin|PMOD_UART2_RTS_Pin|PMOD_UART2_TX_Pin|PMOD_UART2_RX_Pin;
  GPIO_InitStruct.Mode = GPIO_MODE_AF_PP;
  GPIO_InitStruct.Pull = GPIO_NOPULL;
  GPIO_InitStruct.Speed = GPIO_SPEED_FREQ_VERY_HIGH;
  GPIO_InitStruct.Alternate = GPIO_AF7_USART2;
  HAL_GPIO_Init(GPIOD, &GPIO_InitStruct);

  /*Configure GPIO pins : ARD_D15_Pin ARD_D14_Pin */
  GPIO_InitStruct.Pin = ARD_D15_Pin|ARD_D14_Pin;
  GPIO_InitStruct.Mode = GPIO_MODE_AF_OD;
  GPIO_InitStruct.Pull = GPIO_PULLUP;
  GPIO_InitStruct.Speed = GPIO_SPEED_FREQ_VERY_HIGH;
  GPIO_InitStruct.Alternate = GPIO_AF4_I2C1;
  HAL_GPIO_Init(GPIOB, &GPIO_InitStruct);

}

void Error_Handler(void)
{
  __disable_irq();
  while (1)
  {
  }
}

/************************ (C) COPYRIGHT STMicroelectronics *****END OF FILE****/
